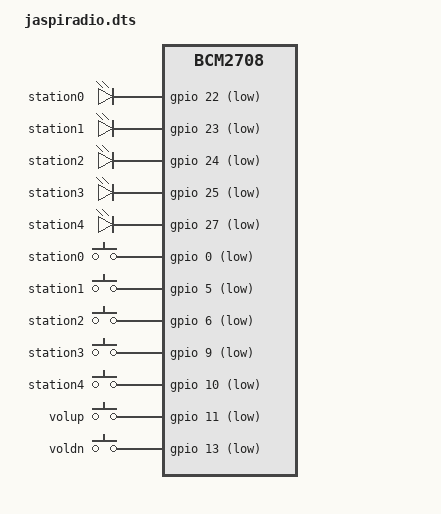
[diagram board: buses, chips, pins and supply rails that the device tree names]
/dts-v1/;
/plugin/;

/ {
  compatible = "brcm,bcm2708";

  fragment@0 {
    target = <&leds>;
    __overlay__ {
      led0 {
        label = "station0";
        gpios = <&gpio 22 1>;
      };
      led1 {
        label = "station1";
        gpios = <&gpio 23 1>;
      };
      led2 {
        label = "station2";
        gpios = <&gpio 24 1>;
      };
      led3 {
        label = "station3";
        gpios = <&gpio 25 1>;
      };
      led4 {
        label = "station4";
        gpios = <&gpio 27 1>;
      };
    };
  };

  fragment@1 {
    target-path = "/soc";
    __overlay__ {
      keypad: keypad {
        compatible = "gpio-keys";
        #address-cells = <1>;
        #size-cells = <0>;
        pinctrl-names = "default";
        pinctrl-0 = <&jaspiradio_pins>;

        button@0 {
          label = "station0";
          linux,code = <0x100>;
          gpios = <&gpio 0 1>;
        };

        button@5 {
          label = "station1";
          linux,code = <0x101>;
          gpios = <&gpio 5 1>;
        };

        button@6 {
          label = "station2";
          linux,code = <0x102>;
          gpios = <&gpio 6 1>;
        };

        button@9 {
          label = "station3";
          linux,code = <0x103>;
          gpios = <&gpio 9 1>;
        };

        button@10 {
          label = "station4";
          linux,code = <0x104>;
          gpios = <&gpio 10 1>;
        };

        button@11 {
          label = "volup";
          linux,code = <0x105>;
          gpios = <&gpio 11 1>;
        };

        button@13 {
          label = "voldn";
          linux,code = <0x106>;
          gpios = <&gpio 13 1>;
        };

      };
    };
  };

  fragment@2 {
    target = <&gpio>;
    __overlay__ {
      jaspiradio_pins: jaspiradio_pins {
        brcm,pins = <0 5 6 9 10 11 13>;
        brcm,function = <0>; //BCM2835_FSEL_GPIO_IN
        brcm,pull = <2>; //BCM2835_PUD_UP
      };
    };
  };

};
